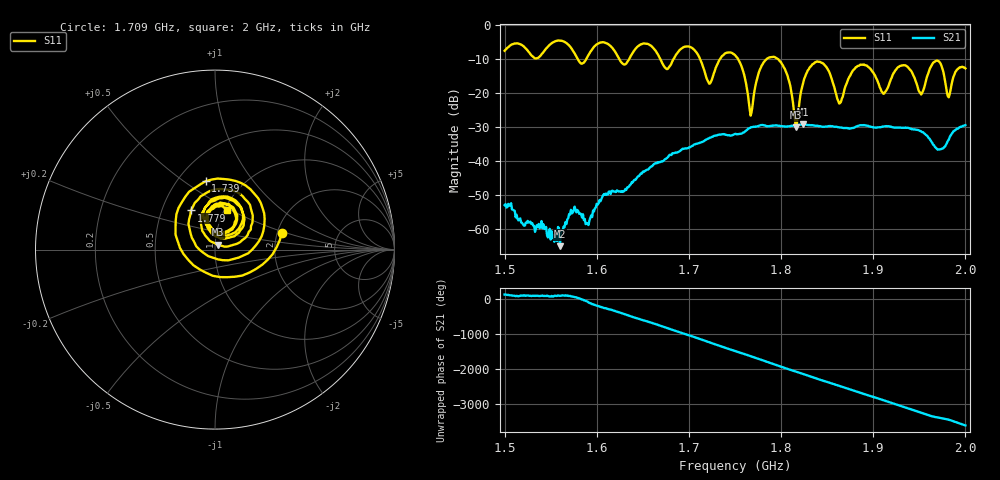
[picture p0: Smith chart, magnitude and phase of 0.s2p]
! NanoVNA-App by SYSJOINT et al v1.1.209 (+OD18)
! Date: 2026-01-21 14:15:53
! Start: 1,5GHz Stop: 2GHz Points: 501
! S-Parameter data: F S11 S21 S12 S22
# Hz S RI R 50
!  Frequency  S11_Real  S11_Imag  S21_Real  S21_Imag  S12_Real  S12_Imag  S22_Real  S22_Imag
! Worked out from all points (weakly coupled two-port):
!   501 points, 1.5 GHz to 2 GHz, reference 50 ohm
!   highest |S21| = -29.17 dB at 1.824 GHz (marker M1); lowest = -65.1 dB at 1.56 GHz (marker M2)
!   lowest |S11| = -30.0 dB at 1.816 GHz (marker M3), VSWR 1.06, Z = 51.4 + j2.86 ohm
!   |S11| at or under -10 dB: 1.712 GHz to 1.734 GHz (21.35 MHz wide, 1.24 % of centre); 1.753 GHz to 1.784 GHz (30.77 MHz wide, 1.74 % of centre); 1.797 GHz to end of sweep (the widest 3 of 6)
!   S12 and S22 are empty: the file has one direction only
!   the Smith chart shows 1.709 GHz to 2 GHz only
!   S11 on the Smith chart (normalised r, x): 1.709 GHz: 2.12, +0.47; 1.739 GHz: 0.68, +0.61; 1.779 GHz: 0.70, +0.33; 2 GHz: 1.03, +0.48
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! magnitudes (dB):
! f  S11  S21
! 1.5 GHz  -7.5  -53.0
! 1.56 GHz  -4.5  -65.1
! 1.584 GHz  -11.3  -56.7
! 1.667 GHz  -8.9  -40.4
! 1.709 GHz  -8.3  -34.9
! 1.722 GHz  -17.2  -33.2
! 1.739 GHz  -8.3  -32.2
! 1.75 GHz  -8.8  -32.0
! 1.767 GHz  -26.6  -30.1
! 1.779 GHz  -11.8  -29.4
! 1.802 GHz  -11.8  -29.8
! 1.816 GHz  -30.0  -29.5
! 1.824 GHz  -16.9  -29.2
! 1.834 GHz  -11.5  -29.5
! 1.863 GHz  -23.0  -30.0
! 1.885 GHz  -11.8  -29.5
! 1.917 GHz  -17.5  -29.7
! 1.934 GHz  -11.8  -30.2
! 1.952 GHz  -20.4  -31.3
! 1.972 GHz  -10.9  -36.6
! 1.982 GHz  -21.2  -33.7
! 2 GHz  -12.7  -29.4
